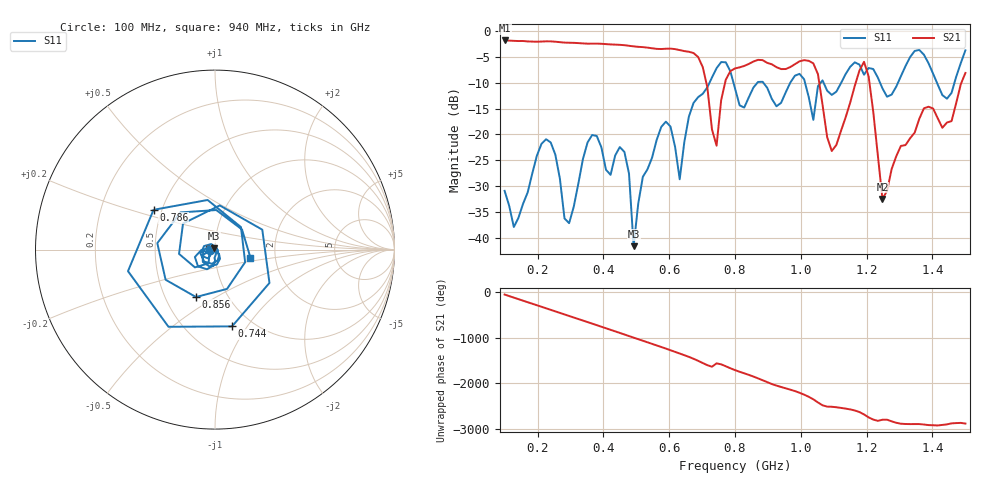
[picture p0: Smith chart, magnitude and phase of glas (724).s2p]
! NanoVNA-App
! Date: 2025-09-25 16:01:07
! Start: 100MHz Stop: 1,5GHz Points: 101
! S-Parameter data: F S11 S21 S12 S22
# Hz S RI R 50
!  Frequency  S11_Real  S11_Imag  S21_Real  S21_Imag  S12_Real  S12_Imag  S22_Real  S22_Imag
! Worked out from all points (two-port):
!   101 points, 100 MHz to 1.5 GHz, reference 50 ohm
!   highest |S21| = -1.80 dB at 100 MHz (marker M1); lowest = -32.5 dB at 1.248 GHz (marker M2)
!   |S21| within 3 dB of the highest: start of sweep to 684.3 MHz
!   lowest |S11| = -41.6 dB at 492 MHz (marker M3), VSWR 1.02, Z = 49.5 + j0.647 ohm
!   |S11| at or under -10 dB: start of sweep to 722.5 MHz; 795.4 MHz to 867.8 MHz (72.39 MHz wide, 8.7 % of centre); 886.3 MHz to 967.8 MHz (81.44 MHz wide, 8.78 % of centre) (the widest 3 of 7)
!   S12 and S22 are empty: the file has one direction only
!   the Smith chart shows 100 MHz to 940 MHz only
!   S11 on the Smith chart (normalised r, x): 100 MHz: 0.94, -0.01; 744 MHz: 0.81, -0.85; 786 MHz: 0.45, +0.24; 856 MHz: 0.71, -0.41; 940 MHz: 1.48, -0.14
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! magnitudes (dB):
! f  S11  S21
! 100 MHz  -30.9  -1.8
! 128 MHz  -37.9  -1.9
! 226 MHz  -20.9  -2.0
! 296 MHz  -37.2  -2.2
! 338 MHz  -24.7  -2.4
! 464 MHz  -23.4  -2.7
! 492 MHz  -41.6  -2.9
! 576 MHz  -18.5  -3.5
! 632 MHz  -28.7  -3.7
! 702 MHz  -12.1  -7.0
! 744 MHz  -7.2  -22.2
! 786 MHz  -7.8  -7.7
! 800 MHz  -11.1  -7.2
! 856 MHz  -10.9  -5.9
! 940 MHz  -13.9  -7.3
! 996 MHz  -8.3  -5.8
! 1.038 GHz  -17.2  -6.2
! 1.094 GHz  -12.3  -23.2
! 1.192 GHz  -8.4  -5.9
! 1.248 GHz  -11.1  -32.5
! 1.276 GHz  -12.3  -26.7
! 1.5 GHz  -3.7  -8.1
